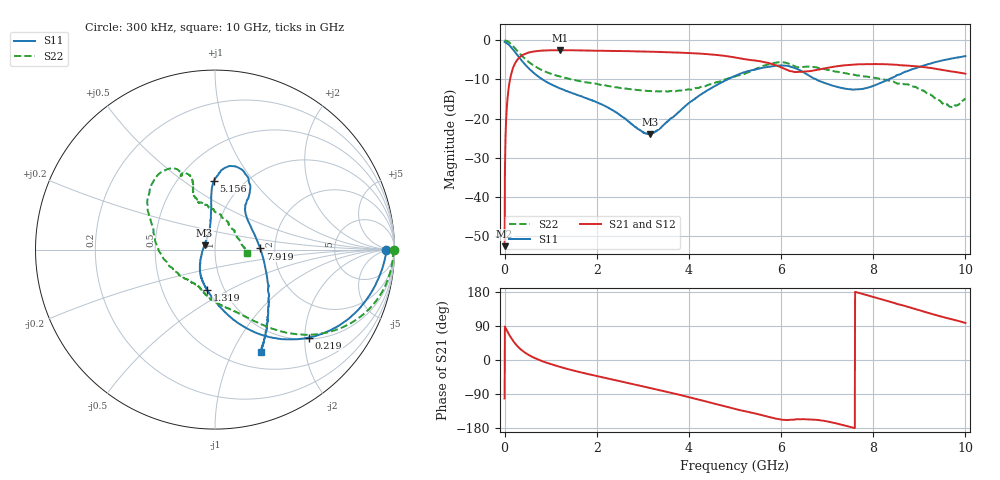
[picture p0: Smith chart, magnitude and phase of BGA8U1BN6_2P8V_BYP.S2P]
!Agilent Technologies,E5071C,MY46316587,B.13.01
!Date: Tue Nov 28 12:49:50 2017
!Data & Calibration Information:
!Freq	S11:SOLT2(ON)	S21:SOLT2(ON)	S12:SOLT2(ON)	S22:SOLT2(ON)
!PortZ  Port1:50+j0  Port2:50+j0
!Above PortZ is port z conversion or system Z0 setting when saving the data.
!When reading, reference impedance value at option line is always used.
# Hz S RI R 50
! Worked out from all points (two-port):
!   1601 points, 300 kHz to 10 GHz, reference 50 ohm
!   highest |S21| = -2.53 dB at 1.2 GHz (marker M1); lowest = -52.6 dB at 300 kHz (marker M2)
!   |S21| within 3 dB of the highest: 244.8 MHz to 5.609 GHz (5.365 GHz wide, 183 % of centre)
!   lowest |S11| = -24.0 dB at 3.156 GHz (marker M3), VSWR 1.14, Z = 44.4 + j2.21 ohm
!   |S11| at or under -10 dB: 821.8 MHz to 4.837 GHz (4.015 GHz wide, 142 % of centre); 6.762 GHz to 8.332 GHz (1.57 GHz wide, 20.8 % of centre)
!   |S22| runs from -17.1 to 0.0 dB; largest |S21 - S12| = 0.0096
!   S11 on the Smith chart (normalised r, x): 300 kHz: 43, -1; 219 MHz: 1.04, -2.09; 1.319 GHz: 0.83, -0.39; 5.156 GHz: 0.74, +0.66; 7.919 GHz: 1.67, +0.02; 10 GHz: 0.69, -1.30
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300000  0.9547 -0.000836  -0.000471 -0.00229  -0.000217 0.00013  0.9945 -0.00142
5.654831e7  0.8823 -0.2183  0.039 0.1571  0.0391 0.1589  0.9582 -0.1795
6.279812e7  0.8711 -0.2382  0.0475 0.1723  0.0477 0.1737  0.9508 -0.1973
1.190464e8  0.7529 -0.3783  0.1467 0.282  0.1476 0.284  0.8567 -0.3331
2.190434e8  0.5224 -0.4903  0.3516 0.3502  0.3536 0.3514  0.6566 -0.4529
3.752888e8  0.2676 -0.4772  0.5753 0.2762  0.5775 0.2759  0.4255 -0.4679
5.627831e8  0.1156 -0.3997  0.694 0.1304  0.6952 0.1304  0.2784 -0.4238
1.200264e9  -0.0332 -0.2402  0.7097 -0.2332  0.7086 -0.232  0.086 -0.334
1.31901e9  -0.0446 -0.223  0.6908 -0.2824  0.6905 -0.2797  0.0629 -0.3232
1.669e9  -0.0675 -0.1794  0.6222 -0.4036  0.6225 -0.4017  0.0139 -0.299
3.156455e9  -0.0582 0.0248  0.1988 -0.6867  0.1982 -0.6839  -0.0926 -0.2043
3.3377e9  -0.0481 0.0535  0.1372 -0.6973  0.135 -0.6953  -0.1033 -0.1966
4.200174e9  -0.0227 0.1909  -0.1651 -0.6568  -0.1662 -0.6577  -0.2081 -0.1303
5.00015e9  -0.0158 0.3503  -0.3817 -0.4668  -0.3819 -0.4676  -0.3362 0.0738
5.156395e9  -0.00573 0.3824  -0.401 -0.4203  -0.4007 -0.4201  -0.3441 0.1207
6.031369e9  0.1187 0.4617  -0.4093 -0.1679  -0.4099 -0.1646  -0.2796 0.441
6.66885e9  0.1823 0.2808  -0.3746 -0.1589  -0.3765 -0.1579  -0.1668 0.4249
7.368829e9  0.1874 0.1528  -0.4739 -0.0635  -0.4738 -0.0627  -0.1236 0.3613
7.918812e9  0.2513 0.00668  -0.4882 0.0935  -0.4881 0.0945  -0.1218 0.316
8.33755e9  0.2869 -0.1353  -0.4449 0.2108  -0.444 0.2129  -0.1079 0.2863
9.68126e9  0.2716 -0.5159  -0.1259 0.3804  -0.1251 0.3803  0.1158 0.0809
1e10  0.2546 -0.5729  -0.0506 0.3705  -0.0479 0.3712  0.1796 -0.0164
